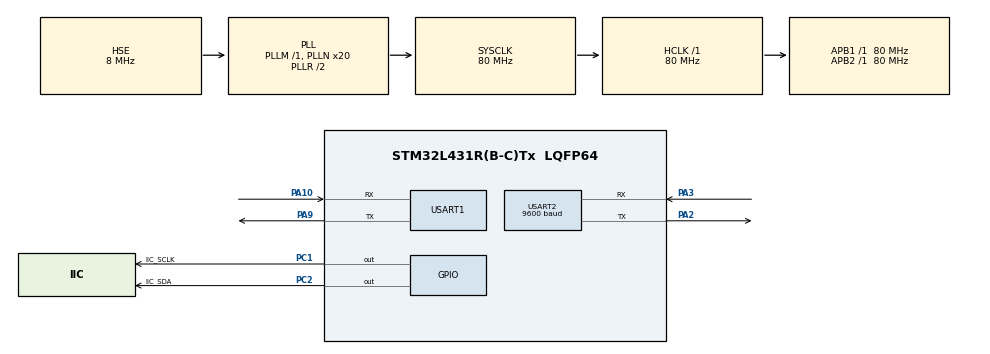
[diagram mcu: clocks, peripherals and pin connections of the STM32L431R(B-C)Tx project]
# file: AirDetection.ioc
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Dma.Request0=USART2_RX
Dma.Request1=USART2_TX
Dma.USART2_RX.0.Direction=DMA_PERIPH_TO_MEMORY
Dma.USART2_RX.0.Instance=DMA1_Channel6
Dma.USART2_RX.0.MemDataAlignment=DMA_MDATAALIGN_BYTE
Dma.USART2_RX.0.MemInc=DMA_MINC_ENABLE
Dma.USART2_RX.0.Mode=DMA_CIRCULAR
Dma.USART2_RX.0.PeriphDataAlignment=DMA_PDATAALIGN_BYTE
Dma.USART2_RX.0.PeriphInc=DMA_PINC_DISABLE
Dma.USART2_RX.0.Priority=DMA_PRIORITY_LOW
Dma.USART2_TX.1.Direction=DMA_MEMORY_TO_PERIPH
Dma.USART2_TX.1.Instance=DMA1_Channel7
Dma.USART2_TX.1.MemDataAlignment=DMA_MDATAALIGN_BYTE
Dma.USART2_TX.1.MemInc=DMA_MINC_ENABLE
Dma.USART2_TX.1.Mode=DMA_NORMAL
Dma.USART2_TX.1.PeriphDataAlignment=DMA_PDATAALIGN_BYTE
Dma.USART2_TX.1.PeriphInc=DMA_PINC_DISABLE
Dma.USART2_TX.1.Priority=DMA_PRIORITY_LOW
Mcu.Family=STM32L4
Mcu.Name=STM32L431R(B-C)Tx
Mcu.Package=LQFP64
NVIC.DMA1_Channel6_IRQn=true\:5\:0\:true\:false\:true\:false\:true
NVIC.DMA1_Channel7_IRQn=true\:4\:1\:true\:false\:true\:false\:true
NVIC.PriorityGroup=NVIC_PRIORITYGROUP_3
NVIC.USART1_IRQn=true\:6\:0\:true\:false\:true\:true\:true
NVIC.USART2_IRQn=true\:4\:0\:true\:false\:true\:true\:true
PA10.Mode=Asynchronous
PA10.Signal=USART1_RX
PA13\ (JTMS-SWDIO).Mode=Serial_Wire
PA13\ (JTMS-SWDIO).Signal=SYS_JTMS-SWDIO
PA14\ (JTCK-SWCLK).Mode=Serial_Wire
PA14\ (JTCK-SWCLK).Signal=SYS_JTCK-SWCLK
PA2.Mode=Asynchronous
PA2.Signal=USART2_TX
PA3.Mode=Asynchronous
PA3.Signal=USART2_RX
PA9.Mode=Asynchronous
PA9.Signal=USART1_TX
PC1.GPIO_Label=IIC_SCLK
PC1.GPIO_ModeDefaultOutputPP=GPIO_MODE_OUTPUT_OD
PC1.GPIO_PuPd=GPIO_PULLUP
PC1.GPIO_Speed=GPIO_SPEED_FREQ_HIGH
PC1.PinState=GPIO_PIN_SET
PC1.Signal=GPIO_Output
PC14-OSC32_IN\ (PC14).Mode=LSE-External-Oscillator
PC14-OSC32_IN\ (PC14).Signal=RCC_OSC32_IN
PC15-OSC32_OUT\ (PC15).Mode=LSE-External-Oscillator
PC15-OSC32_OUT\ (PC15).Signal=RCC_OSC32_OUT
PC2.GPIO_Label=IIC_SDA
PC2.GPIO_ModeDefaultOutputPP=GPIO_MODE_OUTPUT_OD
PC2.GPIO_PuPd=GPIO_PULLUP
PC2.GPIO_Speed=GPIO_SPEED_FREQ_HIGH
PC2.PinState=GPIO_PIN_SET
PC2.Signal=GPIO_Output
PH0-OSC_IN\ (PH0).Mode=HSE-External-Oscillator
PH0-OSC_IN\ (PH0).Signal=RCC_OSC_IN
PH1-OSC_OUT\ (PH1).Mode=HSE-External-Oscillator
PH1-OSC_OUT\ (PH1).Signal=RCC_OSC_OUT
ProjectManager.HeapSize=0x200
ProjectManager.StackSize=0x400
ProjectManager.TargetToolchain=MDK-ARM V5.27
RCC.ADCFreq_Value=32000000
RCC.AHBFreq_Value=80000000
RCC.APB1Freq_Value=80000000
RCC.APB1TimFreq_Value=80000000
RCC.APB2Freq_Value=80000000
RCC.APB2TimFreq_Value=80000000
RCC.CortexFreq_Value=80000000
RCC.HCLKFreq_Value=80000000
RCC.HSE_VALUE=8000000
RCC.HSI48_VALUE=48000000
RCC.HSI_VALUE=16000000
RCC.MSI_VALUE=4000000
RCC.PLLN=20
RCC.PLLSourceVirtual=RCC_PLLSOURCE_HSE
RCC.SYSCLKFreq_VALUE=80000000
RCC.SYSCLKSource=RCC_SYSCLKSOURCE_PLLCLK
RCC.VCOOutputFreq_Value=160000000
TIM2.Period=65535
TIM2.Prescaler=79
USART1.VirtualMode-Asynchronous=VM_ASYNC
USART2.BaudRate=9600
USART2.VirtualMode-Asynchronous=VM_ASYNC
VP_TIM2_VS_ClockSourceINT.Mode=Internal
board=custom

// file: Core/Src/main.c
/* USER CODE BEGIN Header */
/**
  ******************************************************************************
  * @file           : main.c
  * @brief          : Main program body
  ******************************************************************************
  * @attention
  *
  * <h2><center>&copy; Copyright (c) 2021 STMicroelectronics.
  * All rights reserved.</center></h2>
  *
  * This software component is licensed by ST under BSD 3-Clause license,
  * the "License"; You may not use this file except in compliance with the
  * License. You may obtain a copy of the License at:
  *                        opensource.org/licenses/BSD-3-Clause
  *
  ******************************************************************************
  */
/* USER CODE END Header */
#include "main.h"
#include "dma.h"
#include "tim.h"
#include "usart.h"
#include "gpio.h"

/* USER CODE BEGIN Includes */
#include "SGP30.h"
/* USER CODE END Includes */

/* USER CODE BEGIN PV */

USART_BuffTypeDef usart1_buf;
USART_BuffTypeDef usart2_buf;

/* USER CODE END PV */

void SystemClock_Config(void);

int main(void)
{
  /* USER CODE BEGIN 1 */

	u32 sgp30_dat;
	u32 CO2Data=400,TVOCData=0;//定义CO2浓度变量与TVOC浓度变量

//  uint8_t *SendBuf = "\r\n请输入数据，以回车键结束：\r\n";

  /* USER CODE END 1 */

  /* MCU Configuration--------------------------------------------------------*/

  /* Reset of all peripherals, Initializes the Flash interface and the Systick. */
  HAL_Init();

  /* Configure the system clock */
  SystemClock_Config();

  /* Initialize all configured peripherals */
  MX_GPIO_Init();
  MX_DMA_Init();
  MX_USART1_UART_Init();
  MX_TIM2_Init();
  MX_USART2_UART_Init();
  /* USER CODE BEGIN 2 */
	__HAL_UART_ENABLE_IT(&huart2, UART_IT_IDLE);		//使能IDLE中断

	if(HAL_UART_Receive_IT(&huart1, &usart1_buf.aRxBuff, 1) != HAL_OK)
	{
		Error_Handler();
	}

  if(HAL_UART_Receive_DMA(&huart2, usart2_buf.RxBuff, USART_RX_LEN) != HAL_OK){
		Error_Handler();
	}

//  if(HAL_UART_Transmit_DMA(&huart2, SendBuf, sizeof(SendBuf)) != HAL_OK){
//		Error_Handler();
//	}
		HAL_Delay(200);

printf("正在检测中...\r\n");
		HAL_Delay(200);

//	SGP30_Init();   //初始化SGP30
//	while(CO2Data == 400 && TVOCData == 0)
//	{
//		SGP30_Write(0x20,0x08);
//		sgp30_dat = SGP30_Read();//读取SGP30的值
//		CO2Data = (sgp30_dat & 0xffff0000) >> 16;//取出CO2浓度值
//		TVOCData = sgp30_dat & 0x0000ffff;			 //取出TVOC值
//		printf("正在检测中...\r\n");
//		HAL_Delay(500);
//	}
  /* USER CODE END 2 */

  /* Infinite loop */
  while (1)
  {

    /* USER CODE BEGIN 3 */
		if(usart1_buf.Rx_end_flag == 1)
		{
				printf("\r\n\r\n接收到的字符个数为：%d\r\n接收到的数据为：\r\n",usart1_buf.RxSize);
				usart1_buf.TxSize = usart1_buf.RxSize;
				usart1_buf.Tx_end_flag = 0;
			if(HAL_UART_Transmit_IT(&huart1, usart1_buf.RxBuff, usart1_buf.RxSize) != HAL_OK)
				{
					Error_Handler();
				}
			usart1_buf.RxSize = 0;
			usart1_buf.Rx_end_flag = 0;
			memset(usart1_buf.RxBuff,0,usart1_buf.RxSize);//清除接受BUFF里的数据
		}

//		SGP30_Write(0x20,0x08);
//		sgp30_dat = SGP30_Read();//读取SGP30的值
//		CO2Data = (sgp30_dat & 0xffff0000) >> 16;//取出CO2浓度值
//		TVOCData = sgp30_dat & 0x0000ffff;       //取出TVOC值
//		printf("\r\nCO2:%dppm\r\nTVOC:%dppd\r\n",CO2Data,TVOCData);
//		HAL_Delay(200);

		if(usart2_buf.Rx_end_flag == 1 && usart2_buf.RxSize != 0)
		{
			printf("\r\n\r\n接收到的字符个数为：%d\r\n接收到的数据为：\r\n",usart2_buf.RxSize);
			usart2_buf.TxSize = usart2_buf.RxSize;
			usart2_buf.Tx_end_flag = 0;

			if(HAL_UART_Transmit_DMA(&huart2, usart2_buf.RxBuff, usart2_buf.RxSize) != HAL_OK)
			{
				Error_Handler();
			}
			usart2_buf.RxSize = 0;
			usart2_buf.Rx_end_flag = 0;
			memset(usart2_buf.RxBuff,0,usart2_buf.RxSize);
		}

  }
  /* USER CODE END 3 */
}

void SystemClock_Config(void)
{
  RCC_OscInitTypeDef RCC_OscInitStruct = {0};
  RCC_ClkInitTypeDef RCC_ClkInitStruct = {0};
  RCC_PeriphCLKInitTypeDef PeriphClkInit = {0};

  /** Initializes the RCC Oscillators according to the specified parameters
  * in the RCC_OscInitTypeDef structure.
  */
  RCC_OscInitStruct.OscillatorType = RCC_OSCILLATORTYPE_HSE;
  RCC_OscInitStruct.HSEState = RCC_HSE_ON;
  RCC_OscInitStruct.PLL.PLLState = RCC_PLL_ON;
  RCC_OscInitStruct.PLL.PLLSource = RCC_PLLSOURCE_HSE;
  RCC_OscInitStruct.PLL.PLLM = 1;
  RCC_OscInitStruct.PLL.PLLN = 20;
  RCC_OscInitStruct.PLL.PLLP = RCC_PLLP_DIV7;
  RCC_OscInitStruct.PLL.PLLQ = RCC_PLLQ_DIV2;
  RCC_OscInitStruct.PLL.PLLR = RCC_PLLR_DIV2;
  if (HAL_RCC_OscConfig(&RCC_OscInitStruct) != HAL_OK)
  {
    Error_Handler();
  }
  /** Initializes the CPU, AHB and APB buses clocks
  */
  RCC_ClkInitStruct.ClockType = RCC_CLOCKTYPE_HCLK|RCC_CLOCKTYPE_SYSCLK
                              |RCC_CLOCKTYPE_PCLK1|RCC_CLOCKTYPE_PCLK2;
  RCC_ClkInitStruct.SYSCLKSource = RCC_SYSCLKSOURCE_PLLCLK;
  RCC_ClkInitStruct.AHBCLKDivider = RCC_SYSCLK_DIV1;
  RCC_ClkInitStruct.APB1CLKDivider = RCC_HCLK_DIV1;
  RCC_ClkInitStruct.APB2CLKDivider = RCC_HCLK_DIV1;

  if (HAL_RCC_ClockConfig(&RCC_ClkInitStruct, FLASH_LATENCY_4) != HAL_OK)
  {
    Error_Handler();
  }
  PeriphClkInit.PeriphClockSelection = RCC_PERIPHCLK_USART1|RCC_PERIPHCLK_USART2;
  PeriphClkInit.Usart1ClockSelection = RCC_USART1CLKSOURCE_PCLK2;
  PeriphClkInit.Usart2ClockSelection = RCC_USART2CLKSOURCE_PCLK1;
  if (HAL_RCCEx_PeriphCLKConfig(&PeriphClkInit) != HAL_OK)
  {
    Error_Handler();
  }
  /** Configure the main internal regulator output voltage
  */
  if (HAL_PWREx_ControlVoltageScaling(PWR_REGULATOR_VOLTAGE_SCALE1) != HAL_OK)
  {
    Error_Handler();
  }
}

void Error_Handler(void)
{
  __disable_irq();
  while (1)
  {
  }
}

/************************ (C) COPYRIGHT STMicroelectronics *****END OF FILE****/
